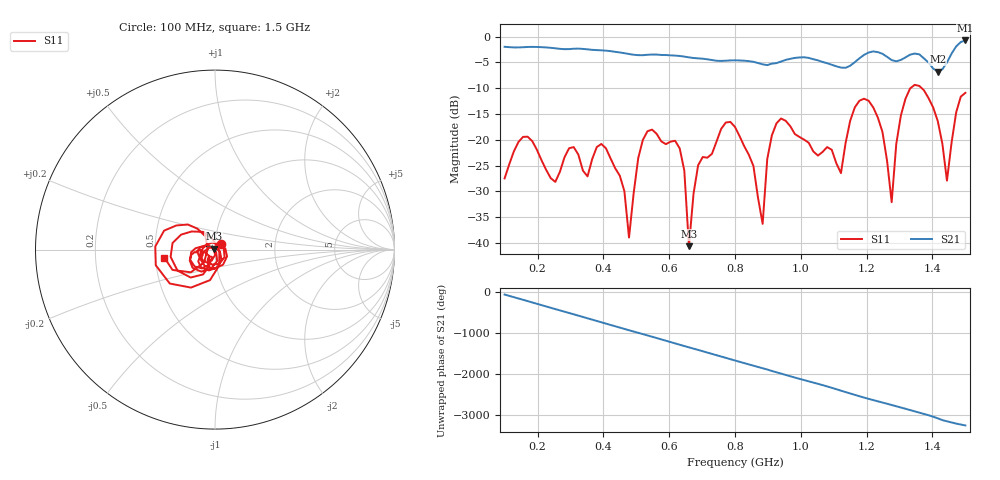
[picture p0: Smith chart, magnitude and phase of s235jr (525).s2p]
! NanoVNA-App
! Date: 2025-09-25 15:08:15
! Start: 100MHz Stop: 1,5GHz Points: 101
! S-Parameter data: F S11 S21 S12 S22
# Hz S RI R 50
!  Frequency  S11_Real  S11_Imag  S21_Real  S21_Imag  S12_Real  S12_Imag  S22_Real  S22_Imag
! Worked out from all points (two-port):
!   101 points, 100 MHz to 1.5 GHz, reference 50 ohm
!   highest |S21| = -0.74 dB at 1.5 GHz (marker M1); lowest = -6.8 dB at 1.416 GHz (marker M2)
!   |S21| within 3 dB of the highest: start of sweep to 630.7 MHz; 1.188 GHz to 1.258 GHz (70.11 MHz wide, 5.73 % of centre) (the widest 2 of 4)
!   lowest |S11| = -40.6 dB at 660 MHz (marker M3), VSWR 1.02, Z = 49.3 + j0.554 ohm
!   |S11| at or under -10 dB: start of sweep to 1.333 GHz; 1.368 GHz to end of sweep
!   S12 and S22 are empty: the file has one direction only
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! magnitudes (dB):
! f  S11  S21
! 100 MHz  -27.5  -2.0
! 156 MHz  -19.4  -2.0
! 338 MHz  -26.0  -2.4
! 408 MHz  -21.6  -2.7
! 478 MHz  -38.9  -3.4
! 520 MHz  -20.0  -3.6
! 576 MHz  -20.3  -3.5
! 632 MHz  -21.6  -3.7
! 660 MHz  -40.6  -4.0
! 688 MHz  -24.9  -4.2
! 800 MHz  -17.5  -4.6
! 884 MHz  -36.3  -5.4
! 898 MHz  -23.7  -5.5
! 926 MHz  -16.8  -5.1
! 1.038 GHz  -22.3  -4.4
! 1.122 GHz  -26.4  -6.0
! 1.206 GHz  -12.4  -3.1
! 1.276 GHz  -32.1  -4.5
! 1.332 GHz  -10.0  -3.5
! 1.416 GHz  -16.3  -6.8
! 1.444 GHz  -27.9  -5.0
! 1.5 GHz  -10.9  -0.7
